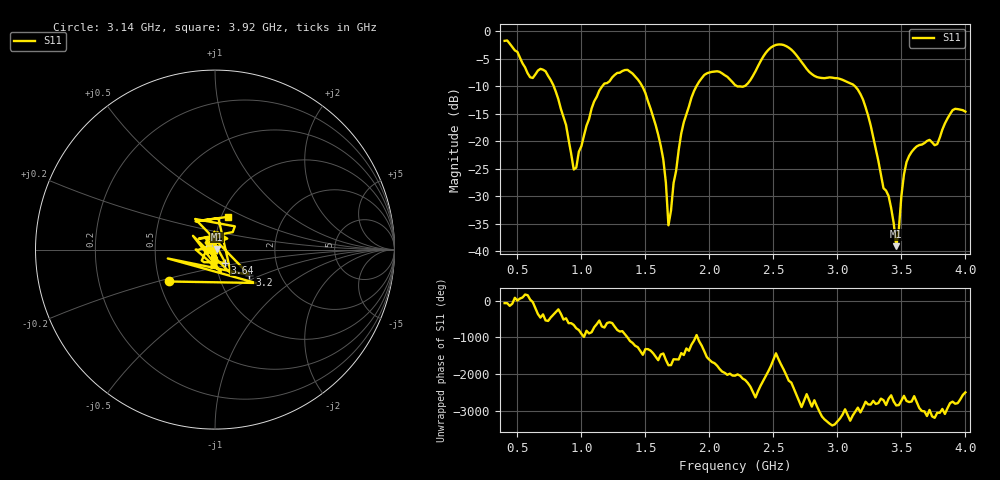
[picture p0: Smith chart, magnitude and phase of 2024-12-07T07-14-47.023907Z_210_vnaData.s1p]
!Created with skrf (http://scikit-rf.org).
# Hz S RI R 50.0
!freq ReS11 ImS11
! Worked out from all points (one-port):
!   181 points, 400 MHz to 4 GHz, reference 50 ohm
!   lowest |S11| = -39.1 dB at 3.46 GHz (marker M1), VSWR 1.02, Z = 51 + j0.392 ohm
!   |S11| at or under -10 dB: 783.6 MHz to 1.164 GHz (380.1 MHz wide, 39 % of centre); 1.475 GHz to 1.899 GHz (424.4 MHz wide, 25.2 % of centre); 3.136 GHz to end of sweep (the widest 3 of 4)
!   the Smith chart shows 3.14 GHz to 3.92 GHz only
!   S11 on the Smith chart (normalised r, x): 3.14 GHz: 0.56, -0.22; 3.2 GHz: 1.40, -0.42; 3.64 GHz: 1.11, -0.16; 3.92 GHz: 1.08, +0.41
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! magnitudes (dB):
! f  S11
! 400 MHz  -1.8
! 600 MHz  -8.4
! 720 MHz  -7.3
! 860 MHz  -15.6
! 960 MHz  -24.8
! 1.1 GHz  -12.8
! 1.3 GHz  -7.6
! 1.44 GHz  -8.8
! 1.54 GHz  -14.1
! 1.64 GHz  -23.4
! 1.68 GHz  -35.3
! 1.76 GHz  -21.6
! 1.86 GHz  -12.1
! 1.96 GHz  -8.0
! 2.2 GHz  -9.8
! 2.5 GHz  -2.7
! 2.66 GHz  -3.8
! 3.1 GHz  -9.5
! 3.14 GHz  -10.1
! 3.2 GHz  -12.4
! 3.4 GHz  -30.0
! 3.46 GHz  -39.1
! 3.52 GHz  -26.1
! 3.56 GHz  -22.7
! 3.64 GHz  -20.7
! 3.78 GHz  -20.5
! 3.92 GHz  -14.1
! 4 GHz  -14.6
